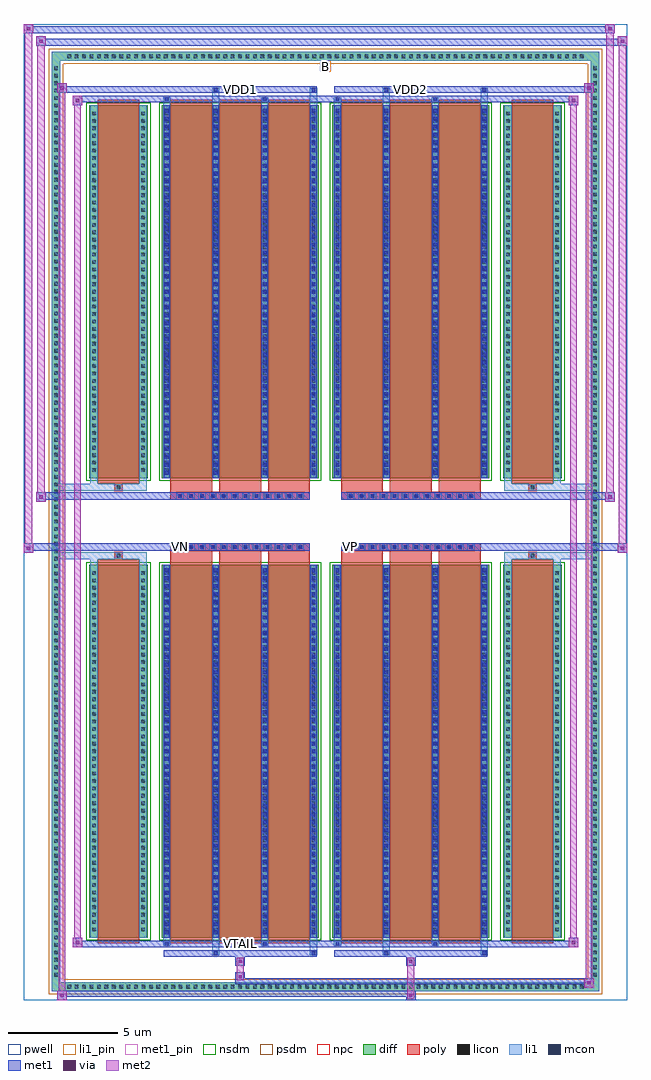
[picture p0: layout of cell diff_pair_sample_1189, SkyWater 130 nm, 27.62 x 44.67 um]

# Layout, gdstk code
import gdstk
lib = gdstk.Library(unit=1e-6, precision=5e-09)
def R(c, l, rs):  # rectangles x0, y0, x1, y1
    for r in rs: c.add(gdstk.rectangle(r[:2], r[2:], *l))
def A(c, l, x, y, w, h, nx, ny, dx, dy):  # array of equal rectangles
    R(c, l, [(x+i*dx, y+j*dy, x+i*dx+w, y+j*dy+h) for i in range(nx) for j in range(ny)])
def P(c, l, *ps):  # polygons
    for p in ps: c.add(gdstk.Polygon(p, *l))
pwell = (64, 44)
diff = (65, 20)
poly = (66, 20)
licon = (66, 44)
li1_pin = (67, 16)
li1 = (67, 20)
mcon = (67, 44)
met1_pin = (68, 16)
met1 = (68, 20)
via = (68, 44)
met2 = (69, 20)
nsdm = (93, 44)
psdm = (94, 20)
npc = (95, 20)

diff_pair_sample_1189 = lib.new_cell('diff_pair_sample_1189')
R(diff_pair_sample_1189, pwell, [(-13.81,-21.9,13.81,22.77), (-11.13,-20.09,-0.01,-0.805), (0.01,-20.09,11.13,-0.805), (-11.13,0.805,-0.01,20.09), (0.01,0.805,11.13,20.09)])
A(diff_pair_sample_1189, diff, -11.935, -21.5, 0.41, 0.41, 70, 2, 0.34, 42.59)
A(diff_pair_sample_1189, diff, -12.54, -20.945, 0.41, 0.41, 1, 123, 0, 0.34)
A(diff_pair_sample_1189, diff, 12.13, -20.945, 0.41, 0.41, 1, 123, 0, 0.34)
R(diff_pair_sample_1189, diff, [(-11.935,-21.5,11.935,-21.09), (-12.54,-20.945,-12.13,20.945), (12.13,-20.945,12.54,20.945), (-10.82,-19.045,-8.13,-1.985), (-7.49,-19.045,-0.32,-1.985), (0.32,-19.045,7.49,-1.985), (8.13,-19.045,10.82,-1.985), (-10.82,1.985,-8.13,19.045), (-7.49,1.985,-0.32,19.045), (0.32,1.985,7.49,19.045), (8.13,1.985,10.82,19.045), (-11.935,21.09,11.935,21.5)])
P(diff_pair_sample_1189, diff, [(12.54,21.5),(-12.54,21.5),(-12.54,-21.09),(-12.13,-21.09),(-12.13,21.09),(12.13,21.09),(12.13,-21.09),(-12.13,-21.09),(-12.54,-21.09),(-12.54,-21.5),(12.54,-21.5)])
A(diff_pair_sample_1189, poly, -7.1, -19.295, 1.91, 17.56, 3, 2, 2.24, 21.03)
A(diff_pair_sample_1189, poly, 0.71, -19.295, 1.91, 17.56, 3, 2, 2.24, 21.03)
A(diff_pair_sample_1189, poly, -7.1, -1.735, 1.91, 0.4, 3, 2, 2.24, 3.07)
A(diff_pair_sample_1189, poly, 0.71, -1.735, 1.91, 0.4, 3, 2, 2.24, 3.07)
A(diff_pair_sample_1189, poly, -6.82, -1.335, 0.33, 0.33, 12, 2, 0.5, 2.34)
A(diff_pair_sample_1189, poly, 0.99, -1.335, 0.33, 0.33, 12, 2, 0.5, 2.34)
R(diff_pair_sample_1189, poly, [(-10.43,-19.295,-8.52,-1.735), (8.52,-19.295,10.43,-1.735), (-9.64,-1.735,-9.31,-1.405), (-9.64,-1.735,-9.31,-1.405), (9.31,-1.735,9.64,-1.405), (9.31,-1.735,9.64,-1.405), (-7.1,-1.335,-0.71,-1.005), (0.71,-1.335,7.1,-1.005), (-7.1,1.005,-0.71,1.335), (0.71,1.005,7.1,1.335), (-9.64,1.405,-9.31,1.735), (-9.64,1.405,-9.31,1.735), (9.31,1.405,9.64,1.735), (9.31,1.405,9.64,1.735), (-10.43,1.735,-8.52,19.295), (8.52,1.735,10.43,19.295)])
A(diff_pair_sample_1189, licon, -11.815, -21.38, 0.17, 0.17, 70, 2, 0.34, 42.59)
A(diff_pair_sample_1189, licon, -12.42, -20.825, 0.17, 0.17, 1, 123, 0, 0.34)
A(diff_pair_sample_1189, licon, 12.25, -20.825, 0.17, 0.17, 1, 123, 0, 0.34)
A(diff_pair_sample_1189, licon, -10.68, -18.76, 0.17, 0.17, 1, 49, 0, 0.34)
A(diff_pair_sample_1189, licon, -8.44, -18.76, 0.17, 0.17, 1, 49, 0, 0.34)
A(diff_pair_sample_1189, licon, -7.35, -18.76, 0.17, 0.17, 4, 49, 2.24, 0.34)
A(diff_pair_sample_1189, licon, 0.46, -18.76, 0.17, 0.17, 4, 49, 2.24, 0.34)
A(diff_pair_sample_1189, licon, 8.27, -18.76, 0.17, 0.17, 1, 49, 0, 0.34)
A(diff_pair_sample_1189, licon, 10.51, -18.76, 0.17, 0.17, 1, 49, 0, 0.34)
A(diff_pair_sample_1189, licon, -6.74, -1.255, 0.17, 0.17, 12, 2, 0.5, 2.34)
A(diff_pair_sample_1189, licon, 1.07, -1.255, 0.17, 0.17, 12, 2, 0.5, 2.34)
A(diff_pair_sample_1189, licon, -10.68, 2.27, 0.17, 0.17, 1, 49, 0, 0.34)
A(diff_pair_sample_1189, licon, -8.44, 2.27, 0.17, 0.17, 1, 49, 0, 0.34)
A(diff_pair_sample_1189, licon, -7.35, 2.27, 0.17, 0.17, 4, 49, 2.24, 0.34)
A(diff_pair_sample_1189, licon, 0.46, 2.27, 0.17, 0.17, 4, 49, 2.24, 0.34)
A(diff_pair_sample_1189, licon, 8.27, 2.27, 0.17, 0.17, 1, 49, 0, 0.34)
A(diff_pair_sample_1189, licon, 10.51, 2.27, 0.17, 0.17, 1, 49, 0, 0.34)
R(diff_pair_sample_1189, licon, [(-9.56,-1.655,-9.39,-1.485), (9.39,-1.655,9.56,-1.485), (-9.56,1.485,-9.39,1.655), (9.39,1.485,9.56,1.655)])
R(diff_pair_sample_1189, li1_pin, [(-0.25,20.59,0.25,21.09)])
A(diff_pair_sample_1189, li1, -11.895, -21.46, 0.33, 0.33, 70, 2, 0.34, 42.59)
A(diff_pair_sample_1189, li1, -12.5, -20.905, 0.33, 0.33, 1, 123, 0, 0.34)
A(diff_pair_sample_1189, li1, 12.17, -20.905, 0.33, 0.33, 1, 123, 0, 0.34)
A(diff_pair_sample_1189, li1, -7.43, -19.045, 0.33, 17.06, 4, 2, 2.24, 21.03)
A(diff_pair_sample_1189, li1, 0.38, -19.045, 0.33, 17.06, 4, 2, 2.24, 21.03)
A(diff_pair_sample_1189, li1, -7.35, -18.88, 0.17, 0.17, 4, 47, 2.24, 0.36)
A(diff_pair_sample_1189, li1, -7.35, -18.88, 0.17, 16.73, 4, 2, 2.24, 21.03)
A(diff_pair_sample_1189, li1, 0.46, -18.88, 0.17, 0.17, 4, 47, 2.24, 0.36)
A(diff_pair_sample_1189, li1, 0.46, -18.88, 0.17, 16.73, 4, 2, 2.24, 21.03)
A(diff_pair_sample_1189, li1, -10.76, -18.84, 0.33, 0.33, 1, 49, 0, 0.34)
A(diff_pair_sample_1189, li1, -8.52, -18.84, 0.33, 0.33, 1, 49, 0, 0.34)
A(diff_pair_sample_1189, li1, -7.43, -18.84, 0.33, 0.33, 4, 49, 2.24, 0.34)
A(diff_pair_sample_1189, li1, 0.38, -18.84, 0.33, 0.33, 4, 49, 2.24, 0.34)
A(diff_pair_sample_1189, li1, 8.19, -18.84, 0.33, 0.33, 1, 49, 0, 0.34)
A(diff_pair_sample_1189, li1, 10.43, -18.84, 0.33, 0.33, 1, 49, 0, 0.34)
A(diff_pair_sample_1189, li1, -6.82, -1.335, 0.33, 0.33, 12, 2, 0.5, 2.34)
A(diff_pair_sample_1189, li1, 0.99, -1.335, 0.33, 0.33, 12, 2, 0.5, 2.34)
A(diff_pair_sample_1189, li1, -7.35, 2.15, 0.17, 0.17, 4, 47, 2.24, 0.36)
A(diff_pair_sample_1189, li1, 0.46, 2.15, 0.17, 0.17, 4, 47, 2.24, 0.36)
A(diff_pair_sample_1189, li1, -10.76, 2.19, 0.33, 0.33, 1, 49, 0, 0.34)
A(diff_pair_sample_1189, li1, -8.52, 2.19, 0.33, 0.33, 1, 49, 0, 0.34)
A(diff_pair_sample_1189, li1, -7.43, 2.19, 0.33, 0.33, 4, 49, 2.24, 0.34)
A(diff_pair_sample_1189, li1, 0.38, 2.19, 0.33, 0.33, 4, 49, 2.24, 0.34)
A(diff_pair_sample_1189, li1, 8.19, 2.19, 0.33, 0.33, 1, 49, 0, 0.34)
A(diff_pair_sample_1189, li1, 10.43, 2.19, 0.33, 0.33, 1, 49, 0, 0.34)
R(diff_pair_sample_1189, li1, [(-12.54,-21.5,-12.13,-21.09), (-12.54,-21.5,-12.13,-21.09), (-12.13,-21.5,12.13,-21.09), (12.13,-21.5,12.54,-21.09), (12.13,-21.5,12.54,-21.09), (-12.54,-21.09,-12.13,21.09), (12.13,-21.09,12.54,21.09), (-5.19,-19.85,-4.86,-19.045), (-5.11,-19.85,-4.94,-19.68), (-0.71,-19.85,-0.38,-19.045), (-0.63,-19.85,-0.46,-19.68), (2.62,-19.85,2.95,-19.045), (2.7,-19.85,2.87,-19.68), (7.1,-19.85,7.43,-19.045), (7.18,-19.85,7.35,-19.68), (-7.43,-19.42,-7.1,-19.045), (-7.35,-19.42,-7.18,-19.25), (-2.95,-19.42,-2.62,-19.045), (-2.87,-19.42,-2.7,-19.25), (0.38,-19.42,0.71,-19.045), (0.46,-19.42,0.63,-19.25), (4.86,-19.42,5.19,-19.045), (4.94,-19.42,5.11,-19.25), (-10.76,-19.045,-10.43,-1.985), (-8.52,-19.045,-8.19,-1.985), (8.19,-19.045,8.52,-1.985), (10.43,-19.045,10.76,-1.985), (-10.76,-1.985,-10.43,-1.405), (-8.52,-1.985,-8.19,-1.405), (8.19,-1.985,8.52,-1.405), (10.43,-1.985,10.76,-1.405), (-12.54,-1.735,-9.64,-1.405), (-10.76,-1.735,-9.64,-1.405), (-9.64,-1.735,-9.31,-1.405), (-9.31,-1.735,-8.19,-1.405), (8.19,-1.735,9.31,-1.405), (9.31,-1.735,9.64,-1.405), (9.31,-1.735,12.54,-1.405), (9.64,-1.735,10.76,-1.405), (-12.54,1.405,-9.64,1.735), (-10.76,1.405,-9.64,1.735), (-10.76,1.405,-10.43,1.985), (-9.64,1.405,-9.31,1.735), (-9.31,1.405,-8.19,1.735), (-8.52,1.405,-8.19,1.985), (8.19,1.405,9.31,1.735), (8.19,1.405,8.52,1.985), (9.31,1.405,9.64,1.735), (9.31,1.405,12.54,1.735), (9.64,1.405,10.76,1.735), (10.43,1.405,10.76,1.985), (-10.76,1.985,-10.43,19.045), (-8.52,1.985,-8.19,19.045), (8.19,1.985,8.52,19.045), (10.43,1.985,10.76,19.045), (-7.43,19.045,-7.1,19.42), (-5.19,19.045,-4.86,19.85), (-2.95,19.045,-2.62,19.42), (-0.71,19.045,-0.38,19.85), (0.38,19.045,0.71,19.42), (2.62,19.045,2.95,19.85), (4.86,19.045,5.19,19.42), (7.1,19.045,7.43,19.85), (-7.35,19.25,-7.18,19.42), (-2.87,19.25,-2.7,19.42), (0.46,19.25,0.63,19.42), (4.94,19.25,5.11,19.42), (-5.11,19.68,-4.94,19.85), (-0.63,19.68,-0.46,19.85), (2.7,19.68,2.87,19.85), (7.18,19.68,7.35,19.85), (-12.54,21.09,-12.13,21.5), (-12.54,21.09,-12.13,21.5), (-12.13,21.09,12.13,21.5), (12.13,21.09,12.54,21.5), (12.13,21.09,12.54,21.5)])
A(diff_pair_sample_1189, mcon, -7.35, -18.88, 0.17, 0.17, 4, 47, 2.24, 0.36)
A(diff_pair_sample_1189, mcon, 0.46, -18.88, 0.17, 0.17, 4, 47, 2.24, 0.36)
A(diff_pair_sample_1189, mcon, -6.74, -1.255, 0.17, 0.17, 12, 2, 0.5, 2.34)
A(diff_pair_sample_1189, mcon, 1.07, -1.255, 0.17, 0.17, 12, 2, 0.5, 2.34)
A(diff_pair_sample_1189, mcon, -7.35, 2.15, 0.17, 0.17, 4, 47, 2.24, 0.36)
A(diff_pair_sample_1189, mcon, 0.46, 2.15, 0.17, 0.17, 4, 47, 2.24, 0.36)
R(diff_pair_sample_1189, mcon, [(-5.11,-19.85,-4.94,-19.68), (-0.63,-19.85,-0.46,-19.68), (2.7,-19.85,2.87,-19.68), (7.18,-19.85,7.35,-19.68), (-7.35,-19.42,-7.18,-19.25), (-2.87,-19.42,-2.7,-19.25), (0.46,-19.42,0.63,-19.25), (4.94,-19.42,5.11,-19.25), (-7.35,19.25,-7.18,19.42), (-2.87,19.25,-2.7,19.42), (0.46,19.25,0.63,19.42), (4.94,19.25,5.11,19.42), (-5.11,19.68,-4.94,19.85), (-0.63,19.68,-0.46,19.85), (2.7,19.68,2.87,19.85), (7.18,19.68,7.35,19.85)])
R(diff_pair_sample_1189, met1_pin, [(-4.04,-19.46,-3.77,-19.19), (-6.79,-1.295,-6.52,-1.025), (1.02,-1.295,1.29,-1.025), (-4.04,19.64,-3.77,19.91), (3.77,19.64,4.04,19.91)])
A(diff_pair_sample_1189, met1, -7.41, -19.045, 0.29, 17.06, 4, 2, 2.24, 21.03)
A(diff_pair_sample_1189, met1, 0.4, -19.045, 0.29, 17.06, 4, 2, 2.24, 21.03)
A(diff_pair_sample_1189, met1, -7.41, -18.94, 0.29, 0.29, 4, 47, 2.24, 0.36)
A(diff_pair_sample_1189, met1, 0.4, -18.94, 0.29, 0.29, 4, 47, 2.24, 0.36)
A(diff_pair_sample_1189, met1, -6.8, -1.315, 0.29, 0.29, 12, 2, 0.5, 2.34)
A(diff_pair_sample_1189, met1, 1.01, -1.315, 0.29, 0.29, 12, 2, 0.5, 2.34)
A(diff_pair_sample_1189, met1, -7.41, 2.09, 0.29, 0.29, 4, 47, 2.24, 0.36)
A(diff_pair_sample_1189, met1, 0.4, 2.09, 0.29, 0.29, 4, 47, 2.24, 0.36)
R(diff_pair_sample_1189, met1, [(-12.27,-21.9,-11.84,-21.47), (3.69,-21.9,4.12,-21.47), (-12.27,-21.76,4.12,-21.47), (11.84,-21.33,12.27,-20.9), (-4.12,-21.19,12.27,-20.9), (-4.12,-21.05,-3.69,-20.62), (-4.12,-20.34,-3.69,-19.91), (3.69,-20.34,4.12,-19.91), (-7.41,-19.91,-0.4,-19.62), (-5.17,-19.91,-4.88,-19.62), (-0.69,-19.91,-0.4,-19.62), (0.4,-19.91,7.41,-19.62), (2.64,-19.91,2.93,-19.62), (7.12,-19.91,7.41,-19.62), (-11.56,-19.48,-11.13,-19.05), (-11.56,-19.48,-7.41,-19.19), (-7.41,-19.48,-7.12,-19.19), (-7.41,-19.48,-0.4,-19.19), (-2.93,-19.48,-2.64,-19.19), (-0.4,-19.48,0.4,-19.19), (0.4,-19.48,0.69,-19.19), (0.4,-19.48,7.41,-19.19), (4.88,-19.48,5.17,-19.19), (7.41,-19.48,11.56,-19.19), (11.13,-19.48,11.56,-19.05), (-13.81,-1.435,-13.38,-1.005), (13.38,-1.435,13.81,-1.005), (-13.81,-1.335,-0.71,-1.005), (-7.1,-1.335,-0.71,-1.005), (0.71,-1.335,7.1,-1.005), (0.71,-1.335,13.81,-1.005), (-13.24,0.905,-12.81,1.335), (12.81,0.905,13.24,1.335), (-13.24,1.005,-7.1,1.335), (-7.1,1.005,-0.71,1.335), (0.71,1.005,7.1,1.335), (7.1,1.005,13.24,1.335), (-11.56,19.05,-11.13,19.48), (11.13,19.05,11.56,19.48), (-11.56,19.19,-7.41,19.48), (-7.41,19.19,-7.12,19.48), (-7.41,19.19,-0.4,19.48), (-2.93,19.19,-2.64,19.48), (-0.4,19.19,0.4,19.48), (0.4,19.19,0.69,19.48), (0.4,19.19,7.41,19.48), (4.88,19.19,5.17,19.48), (7.41,19.19,11.56,19.48), (-12.27,19.62,-11.84,20.05), (-12.27,19.62,-7.41,19.91), (-7.41,19.62,-0.4,19.91), (-5.17,19.62,-4.88,19.91), (-0.69,19.62,-0.4,19.91), (0.4,19.62,7.41,19.91), (2.64,19.62,2.93,19.91), (7.12,19.62,7.41,19.91), (7.41,19.62,12.27,19.91), (11.84,19.62,12.27,20.05), (-13.24,21.77,-12.81,22.2), (-13.24,21.77,-11.13,22.1), (-11.13,21.77,11.13,22.1), (11.13,21.77,13.81,22.1), (13.38,21.77,13.81,22.2), (-13.81,22.34,-13.38,22.77), (-13.81,22.34,-11.13,22.67), (-11.13,22.34,11.13,22.67), (11.13,22.34,13.24,22.67), (12.81,22.34,13.24,22.77)])
R(diff_pair_sample_1189, via, [(-12.13,-21.76,-11.98,-21.61), (3.83,-21.76,3.98,-21.61), (11.98,-21.19,12.13,-21.04), (-3.98,-20.91,-3.83,-20.76), (-3.98,-20.2,-3.83,-20.05), (3.83,-20.2,3.98,-20.05), (-11.42,-19.34,-11.27,-19.19), (11.27,-19.34,11.42,-19.19), (-13.67,-1.295,-13.52,-1.145), (13.52,-1.295,13.67,-1.145), (-13.1,1.045,-12.95,1.195), (12.95,1.045,13.1,1.195), (-11.42,19.19,-11.27,19.34), (11.27,19.19,11.42,19.34), (-12.13,19.76,-11.98,19.91), (11.98,19.76,12.13,19.91), (-13.1,21.91,-12.95,22.06), (13.52,21.91,13.67,22.06), (-13.67,22.48,-13.52,22.63), (12.95,22.48,13.1,22.63)])
R(diff_pair_sample_1189, met2, [(-12.27,-21.9,-11.84,-21.47), (-12.2,-21.9,-11.91,20.05), (-11.91,-21.9,-11.84,-21.47), (-12.22,-21.85,-11.89,-21.52), (3.74,-21.85,4.07,-21.52), (3.74,-21.52,4.07,-20.29), (11.84,-21.33,12.27,-20.9), (11.91,-21.33,12.2,20.05), (12.2,-21.33,12.27,-20.9), (11.89,-21.28,12.22,-20.95), (-4.07,-21,-3.74,-20.67), (-4.07,-20.67,-3.74,-20.29), (-4.07,-20.29,-3.74,-19.96), (3.74,-20.29,4.07,-19.96), (-11.56,-19.48,-11.13,-19.05), (-11.49,-19.48,-11.2,19.48), (-11.2,-19.48,-11.13,-19.05), (11.13,-19.48,11.56,-19.05), (11.2,-19.48,11.49,19.48), (11.49,-19.48,11.56,-19.05), (-11.51,-19.43,-11.18,-19.1), (11.18,-19.43,11.51,-19.1), (-13.81,-1.435,-13.38,-1.005), (-13.76,-1.435,-13.43,22.77), (-13.43,-1.435,-13.38,-1.005), (13.38,-1.435,13.81,-1.005), (13.43,-1.435,13.76,22.2), (13.76,-1.435,13.81,-1.005), (-13.76,-1.385,-13.43,-1.055), (13.43,-1.385,13.76,-1.055), (-13.24,0.905,-12.81,1.335), (-13.19,0.905,-12.86,22.2), (-12.86,0.905,-12.81,1.335), (12.81,0.905,13.24,1.335), (12.86,0.905,13.19,22.77), (13.19,0.905,13.24,1.335), (-13.19,0.955,-12.86,1.285), (12.86,0.955,13.19,1.285), (-11.56,19.05,-11.13,19.48), (-11.2,19.05,-11.13,19.48), (11.13,19.05,11.56,19.48), (11.49,19.05,11.56,19.48), (-11.51,19.1,-11.18,19.43), (11.18,19.1,11.51,19.43), (-12.27,19.62,-11.84,20.05), (-11.91,19.62,-11.84,20.05), (11.84,19.62,12.27,20.05), (12.2,19.62,12.27,20.05), (-12.22,19.67,-11.89,20), (11.89,19.67,12.22,20), (-13.24,21.77,-12.81,22.2), (-12.86,21.77,-12.81,22.2), (13.38,21.77,13.81,22.2), (13.76,21.77,13.81,22.2), (-13.19,21.82,-12.86,22.15), (13.43,21.82,13.76,22.15), (-13.81,22.34,-13.38,22.77), (-13.43,22.34,-13.38,22.77), (12.81,22.34,13.24,22.77), (13.19,22.34,13.24,22.77), (-13.76,22.39,-13.43,22.72), (12.86,22.39,13.19,22.72)])
R(diff_pair_sample_1189, nsdm, [(-10.95,-19.175,-8,-1.855), (-7.62,-19.175,-0.19,-1.855), (0.19,-19.175,7.62,-1.855), (8,-19.175,10.95,-1.855), (-10.95,1.855,-8,19.175), (-7.62,1.855,-0.19,19.175), (0.19,1.855,7.62,19.175), (8,1.855,10.95,19.175)])
P(diff_pair_sample_1189, psdm, [(12.67,21.63),(-12.67,21.63),(-12.67,-20.96),(-12,-20.96),(-12,20.96),(12,20.96),(12,-20.96),(-12,-20.96),(-12.67,-20.96),(-12.67,-21.63),(12.67,-21.63)])
A(diff_pair_sample_1189, npc, -6.84, -1.355, 0.37, 0.37, 12, 2, 0.5, 2.34)
A(diff_pair_sample_1189, npc, 0.97, -1.355, 0.37, 0.37, 12, 2, 0.5, 2.34)
R(diff_pair_sample_1189, npc, [(-9.66,-1.755,-9.29,-1.385), (9.29,-1.755,9.66,-1.385), (-6.84,-1.355,-5.97,-0.985), (-6.84,-1.355,-5.97,-0.985), (-6.34,-1.355,-5.47,-0.985), (-6.34,-1.355,-5.47,-0.985), (-5.84,-1.355,-4.97,-0.985), (-5.84,-1.355,-4.97,-0.985), (-5.34,-1.355,-4.47,-0.985), (-5.34,-1.355,-4.47,-0.985), (-4.84,-1.355,-3.97,-0.985), (-4.84,-1.355,-3.97,-0.985), (-4.34,-1.355,-3.47,-0.985), (-4.34,-1.355,-3.47,-0.985), (-3.84,-1.355,-2.97,-0.985), (-3.84,-1.355,-2.97,-0.985), (-3.34,-1.355,-2.47,-0.985), (-3.34,-1.355,-2.47,-0.985), (-2.84,-1.355,-1.97,-0.985), (-2.84,-1.355,-1.97,-0.985), (-2.34,-1.355,-1.47,-0.985), (-2.34,-1.355,-1.47,-0.985), (-1.84,-1.355,-0.97,-0.985), (-1.84,-1.355,-0.97,-0.985), (0.97,-1.355,1.84,-0.985), (0.97,-1.355,1.84,-0.985), (1.47,-1.355,2.34,-0.985), (1.47,-1.355,2.34,-0.985), (1.97,-1.355,2.84,-0.985), (1.97,-1.355,2.84,-0.985), (2.47,-1.355,3.34,-0.985), (2.47,-1.355,3.34,-0.985), (2.97,-1.355,3.84,-0.985), (2.97,-1.355,3.84,-0.985), (3.47,-1.355,4.34,-0.985), (3.47,-1.355,4.34,-0.985), (3.97,-1.355,4.84,-0.985), (3.97,-1.355,4.84,-0.985), (4.47,-1.355,5.34,-0.985), (4.47,-1.355,5.34,-0.985), (4.97,-1.355,5.84,-0.985), (4.97,-1.355,5.84,-0.985), (5.47,-1.355,6.34,-0.985), (5.47,-1.355,6.34,-0.985), (5.97,-1.355,6.84,-0.985), (5.97,-1.355,6.84,-0.985), (-6.84,0.985,-5.97,1.355), (-6.84,0.985,-5.97,1.355), (-6.34,0.985,-5.47,1.355), (-6.34,0.985,-5.47,1.355), (-5.84,0.985,-4.97,1.355), (-5.84,0.985,-4.97,1.355), (-5.34,0.985,-4.47,1.355), (-5.34,0.985,-4.47,1.355), (-4.84,0.985,-3.97,1.355), (-4.84,0.985,-3.97,1.355), (-4.34,0.985,-3.47,1.355), (-4.34,0.985,-3.47,1.355), (-3.84,0.985,-2.97,1.355), (-3.84,0.985,-2.97,1.355), (-3.34,0.985,-2.47,1.355), (-3.34,0.985,-2.47,1.355), (-2.84,0.985,-1.97,1.355), (-2.84,0.985,-1.97,1.355), (-2.34,0.985,-1.47,1.355), (-2.34,0.985,-1.47,1.355), (-1.84,0.985,-0.97,1.355), (-1.84,0.985,-0.97,1.355), (0.97,0.985,1.84,1.355), (0.97,0.985,1.84,1.355), (1.47,0.985,2.34,1.355), (1.47,0.985,2.34,1.355), (1.97,0.985,2.84,1.355), (1.97,0.985,2.84,1.355), (2.47,0.985,3.34,1.355), (2.47,0.985,3.34,1.355), (2.97,0.985,3.84,1.355), (2.97,0.985,3.84,1.355), (3.47,0.985,4.34,1.355), (3.47,0.985,4.34,1.355), (3.97,0.985,4.84,1.355), (3.97,0.985,4.84,1.355), (4.47,0.985,5.34,1.355), (4.47,0.985,5.34,1.355), (4.97,0.985,5.84,1.355), (4.97,0.985,5.84,1.355), (5.47,0.985,6.34,1.355), (5.47,0.985,6.34,1.355), (5.97,0.985,6.84,1.355), (5.97,0.985,6.84,1.355), (-9.66,1.385,-9.29,1.755), (9.29,1.385,9.66,1.755)])
diff_pair_sample_1189.add(gdstk.Label('VTAIL', (-3.905,-19.325), layer=68, texttype=5))
diff_pair_sample_1189.add(gdstk.Label('VN', (-6.655,-1.16), layer=68, texttype=5))
diff_pair_sample_1189.add(gdstk.Label('VP', (1.155,-1.16), layer=68, texttype=5))
diff_pair_sample_1189.add(gdstk.Label('B', (0,20.84), layer=67, texttype=5))
diff_pair_sample_1189.add(gdstk.Label('VDD2', (3.905,19.775), layer=68, texttype=5))
diff_pair_sample_1189.add(gdstk.Label('VDD1', (-3.905,19.775), layer=68, texttype=5))

lib.write_gds('diff_pair_sample_1189.gds')
